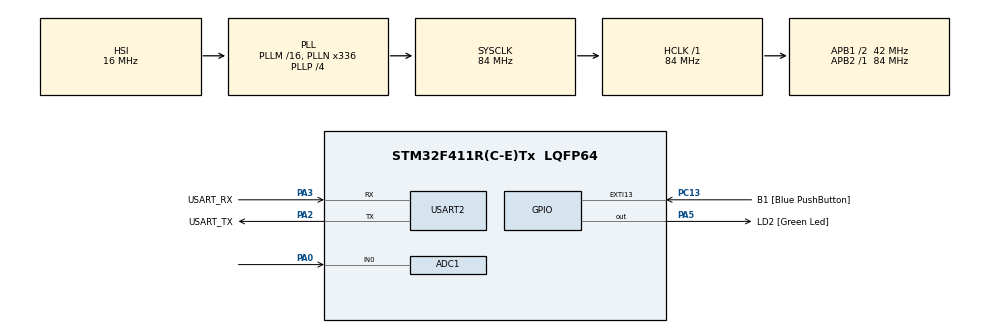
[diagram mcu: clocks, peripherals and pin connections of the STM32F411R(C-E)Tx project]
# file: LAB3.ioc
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ADC1.Channel-0\#ChannelRegularConversion=ADC_CHANNEL_0
ADC1.NbrOfConversionFlag=1
ADC1.Rank-0\#ChannelRegularConversion=1
ADC1.SamplingTime-0\#ChannelRegularConversion=ADC_SAMPLETIME_3CYCLES
ADC1.master=1
Mcu.Family=STM32F4
Mcu.Name=STM32F411R(C-E)Tx
Mcu.Package=LQFP64
NVIC.PriorityGroup=NVIC_PRIORITYGROUP_0
PA0-WKUP.Signal=ADCx_IN0
PA13.GPIO_Label=TMS
PA13.Mode=Serial_Wire
PA13.Signal=SYS_JTMS-SWDIO
PA14.GPIO_Label=TCK
PA14.Mode=Serial_Wire
PA14.Signal=SYS_JTCK-SWCLK
PA2.GPIO_Label=USART_TX
PA2.Mode=Asynchronous
PA2.Signal=USART2_TX
PA3.GPIO_Label=USART_RX
PA3.Mode=Asynchronous
PA3.Signal=USART2_RX
PA5.GPIO_Label=LD2 [Green Led]
PA5.Signal=GPIO_Output
PB3.GPIO_Label=SWO
PB3.Signal=SYS_JTDO-SWO
PC13-ANTI_TAMP.GPIO_Label=B1 [Blue PushButton]
PC13-ANTI_TAMP.GPIO_ModeDefaultEXTI=GPIO_MODE_IT_FALLING
PC13-ANTI_TAMP.Signal=GPXTI13
PC14-OSC32_IN.Mode=LSE-External-Oscillator
PC14-OSC32_IN.Signal=RCC_OSC32_IN
PC15-OSC32_OUT.Mode=LSE-External-Oscillator
PC15-OSC32_OUT.Signal=RCC_OSC32_OUT
PH0\ -\ OSC_IN.Mode=HSE-External-Clock-Source
PH0\ -\ OSC_IN.Signal=RCC_OSC_IN
PH1\ -\ OSC_OUT.Mode=HSE-External-Clock-Source
PH1\ -\ OSC_OUT.Signal=RCC_OSC_OUT
ProjectManager.HeapSize=0x200
ProjectManager.StackSize=0x400
ProjectManager.TargetToolchain=STM32CubeIDE
RCC.48MHZClocksFreq_Value=84000000
RCC.AHBFreq_Value=84000000
RCC.APB1CLKDivider=RCC_HCLK_DIV2
RCC.APB1Freq_Value=42000000
RCC.APB1TimFreq_Value=84000000
RCC.APB2Freq_Value=84000000
RCC.APB2TimFreq_Value=84000000
RCC.CortexFreq_Value=84000000
RCC.FLatency-AdvancedSettings=FLASH_LATENCY_2
RCC.HCLKFreq_Value=84000000
RCC.HSE_VALUE=8000000
RCC.HSI_VALUE=16000000
RCC.PLLN=336
RCC.PLLP=RCC_PLLP_DIV4
RCC.SYSCLKFreq_VALUE=84000000
RCC.SYSCLKSource=RCC_SYSCLKSOURCE_PLLCLK
RCC.VCOOutputFreq_Value=336000000
SH.ADCx_IN0.0=ADC1_IN0,IN0
USART2.VirtualMode=VM_ASYNC
VP_ADC1_TempSens_Input.Mode=IN-TempSens
board=NUCLEO-F411RE

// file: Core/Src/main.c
/* USER CODE BEGIN Header */
/**
  ******************************************************************************
  * @file           : main.c
  * @brief          : Main program body
  ******************************************************************************
  * @attention
  *
  * <h2><center>&copy; Copyright (c) 2021 STMicroelectronics.
  * All rights reserved.</center></h2>
  *
  * This software component is licensed by ST under BSD 3-Clause license,
  * the "License"; You may not use this file except in compliance with the
  * License. You may obtain a copy of the License at:
  *                        opensource.org/licenses/BSD-3-Clause
  *
  ******************************************************************************
  */
/* USER CODE END Header */
#include "main.h"

ADC_HandleTypeDef hadc1;

UART_HandleTypeDef huart2;

/* USER CODE BEGIN PV */
typedef struct
{
	ADC_ChannelConfTypeDef Config;
	uint32_t Data;
} ADCStructure;

ADCStructure ADCChannel[2] = {0};

/* USER CODE END PV */

void SystemClock_Config(void);
static void MX_GPIO_Init(void);
static void MX_USART2_UART_Init(void);
static void MX_ADC1_Init(void);
/* USER CODE BEGIN PFP */
void ADCPollingMethodInit();
void ADCPollingMethodUpdate(); //Read ADC from 2 sources(In0,Temp).
void ADCModeChangeUpdate();

int ADCMode = 0;
uint32_t ButtonTimeStamp = 0;
float ADCOutputConverted;
GPIO_PinState User_Button[2];
/* USER CODE END PFP */

int main(void)
{

  /* MCU Configuration--------------------------------------------------------*/

  /* Reset of all peripherals, Initializes the Flash interface and the Systick. */
  HAL_Init();

  /* Configure the system clock */
  SystemClock_Config();

  /* Initialize all configured peripherals */
  MX_GPIO_Init();
  MX_USART2_UART_Init();
  MX_ADC1_Init();
  /* USER CODE BEGIN 2 */
  ADCPollingMethodInit();
  /* USER CODE END 2 */

  /* Infinite loop */
  while (1)
  {

    /* USER CODE BEGIN 3 */
	  //read analog
	  ADCPollingMethodUpdate();
	  ADCModeChangeUpdate();
  }
  /* USER CODE END 3 */
}

void SystemClock_Config(void)
{
  RCC_OscInitTypeDef RCC_OscInitStruct = {0};
  RCC_ClkInitTypeDef RCC_ClkInitStruct = {0};

  /** Configure the main internal regulator output voltage
  */
  __HAL_RCC_PWR_CLK_ENABLE();
  __HAL_PWR_VOLTAGESCALING_CONFIG(PWR_REGULATOR_VOLTAGE_SCALE1);
  /** Initializes the RCC Oscillators according to the specified parameters
  * in the RCC_OscInitTypeDef structure.
  */
  RCC_OscInitStruct.OscillatorType = RCC_OSCILLATORTYPE_HSI;
  RCC_OscInitStruct.HSIState = RCC_HSI_ON;
  RCC_OscInitStruct.HSICalibrationValue = RCC_HSICALIBRATION_DEFAULT;
  RCC_OscInitStruct.PLL.PLLState = RCC_PLL_ON;
  RCC_OscInitStruct.PLL.PLLSource = RCC_PLLSOURCE_HSI;
  RCC_OscInitStruct.PLL.PLLM = 16;
  RCC_OscInitStruct.PLL.PLLN = 336;
  RCC_OscInitStruct.PLL.PLLP = RCC_PLLP_DIV4;
  RCC_OscInitStruct.PLL.PLLQ = 4;
  if (HAL_RCC_OscConfig(&RCC_OscInitStruct) != HAL_OK)
  {
    Error_Handler();
  }
  /** Initializes the CPU, AHB and APB buses clocks
  */
  RCC_ClkInitStruct.ClockType = RCC_CLOCKTYPE_HCLK|RCC_CLOCKTYPE_SYSCLK
                              |RCC_CLOCKTYPE_PCLK1|RCC_CLOCKTYPE_PCLK2;
  RCC_ClkInitStruct.SYSCLKSource = RCC_SYSCLKSOURCE_PLLCLK;
  RCC_ClkInitStruct.AHBCLKDivider = RCC_SYSCLK_DIV1;
  RCC_ClkInitStruct.APB1CLKDivider = RCC_HCLK_DIV2;
  RCC_ClkInitStruct.APB2CLKDivider = RCC_HCLK_DIV1;

  if (HAL_RCC_ClockConfig(&RCC_ClkInitStruct, FLASH_LATENCY_2) != HAL_OK)
  {
    Error_Handler();
  }
}

static void MX_ADC1_Init(void)
{

  ADC_ChannelConfTypeDef sConfig = {0};

  /** Configure the global features of the ADC (Clock, Resolution, Data Alignment and number of conversion)
  */
  hadc1.Instance = ADC1;
  hadc1.Init.ClockPrescaler = ADC_CLOCK_SYNC_PCLK_DIV4;
  hadc1.Init.Resolution = ADC_RESOLUTION_12B;
  hadc1.Init.ScanConvMode = DISABLE;
  hadc1.Init.ContinuousConvMode = DISABLE;
  hadc1.Init.DiscontinuousConvMode = DISABLE;
  hadc1.Init.ExternalTrigConvEdge = ADC_EXTERNALTRIGCONVEDGE_NONE;
  hadc1.Init.ExternalTrigConv = ADC_SOFTWARE_START;
  hadc1.Init.DataAlign = ADC_DATAALIGN_RIGHT;
  hadc1.Init.NbrOfConversion = 1;
  hadc1.Init.DMAContinuousRequests = DISABLE;
  hadc1.Init.EOCSelection = ADC_EOC_SINGLE_CONV;
  if (HAL_ADC_Init(&hadc1) != HAL_OK)
  {
    Error_Handler();
  }
  /** Configure for the selected ADC regular channel its corresponding rank in the sequencer and its sample time.
  */
  sConfig.Channel = ADC_CHANNEL_0;
  sConfig.Rank = 1;
  sConfig.SamplingTime = ADC_SAMPLETIME_3CYCLES;
  if (HAL_ADC_ConfigChannel(&hadc1, &sConfig) != HAL_OK)
  {
    Error_Handler();
  }

}

static void MX_USART2_UART_Init(void)
{

  huart2.Instance = USART2;
  huart2.Init.BaudRate = 115200;
  huart2.Init.WordLength = UART_WORDLENGTH_8B;
  huart2.Init.StopBits = UART_STOPBITS_1;
  huart2.Init.Parity = UART_PARITY_NONE;
  huart2.Init.Mode = UART_MODE_TX_RX;
  huart2.Init.HwFlowCtl = UART_HWCONTROL_NONE;
  huart2.Init.OverSampling = UART_OVERSAMPLING_16;
  if (HAL_UART_Init(&huart2) != HAL_OK)
  {
    Error_Handler();
  }

}

static void MX_GPIO_Init(void)
{
  GPIO_InitTypeDef GPIO_InitStruct = {0};

  /* GPIO Ports Clock Enable */
  __HAL_RCC_GPIOC_CLK_ENABLE();
  __HAL_RCC_GPIOH_CLK_ENABLE();
  __HAL_RCC_GPIOA_CLK_ENABLE();
  __HAL_RCC_GPIOB_CLK_ENABLE();

  /*Configure GPIO pin Output Level */
  HAL_GPIO_WritePin(LD2_GPIO_Port, LD2_Pin, GPIO_PIN_RESET);

  /*Configure GPIO pin : B1_Pin */
  GPIO_InitStruct.Pin = B1_Pin;
  GPIO_InitStruct.Mode = GPIO_MODE_IT_FALLING;
  GPIO_InitStruct.Pull = GPIO_NOPULL;
  HAL_GPIO_Init(B1_GPIO_Port, &GPIO_InitStruct);

  /*Configure GPIO pin : LD2_Pin */
  GPIO_InitStruct.Pin = LD2_Pin;
  GPIO_InitStruct.Mode = GPIO_MODE_OUTPUT_PP;
  GPIO_InitStruct.Pull = GPIO_NOPULL;
  GPIO_InitStruct.Speed = GPIO_SPEED_FREQ_LOW;
  HAL_GPIO_Init(LD2_GPIO_Port, &GPIO_InitStruct);

}

/* USER CODE BEGIN 4 */

void ADCPollingMethodInit()
{
	//setting PA0 and Temp
	//PA0 - ADC IN0
	ADCChannel[0].Config.Channel = ADC_CHANNEL_0;
	ADCChannel[0].Config.Rank = 1;
	ADCChannel[0].Config.SamplingTime = ADC_SAMPLETIME_3CYCLES;

	//Temp
	ADCChannel[1].Config.Channel = ADC_CHANNEL_TEMPSENSOR;
	ADCChannel[1].Config.Rank = 1;
	ADCChannel[1].Config.SamplingTime = ADC_SAMPLETIME_3CYCLES;
}

void ADCPollingMethodUpdate()
{
	for(int i = 0;i<2;i++)
	{
		//select channel
		HAL_ADC_ConfigChannel(&hadc1, &ADCChannel[i].Config);
		//ADC Sampling ,Convert
		HAL_ADC_Start(&hadc1);
		//Wait ADC
		if(HAL_ADC_PollForConversion(&hadc1, 10) == HAL_OK)
		{
			//Get Value
			ADCChannel[i].Data = HAL_ADC_GetValue(&hadc1);
		}
		//Stop
		HAL_ADC_Stop(&hadc1);
	}

}

void ADCModeChangeUpdate()
{
	if(HAL_GetTick() - ButtonTimeStamp >= 100)
	{
		ButtonTimeStamp = HAL_GetTick();
		User_Button[0] = HAL_GPIO_ReadPin(GPIOC, GPIO_PIN_13);
		if(User_Button[1] == GPIO_PIN_SET && User_Button[0] == GPIO_PIN_RESET)
		{
			if(ADCMode == 0)
			{
				ADCMode = 1;
			}
			else
			{
				ADCMode = 0;
			}
		}
		User_Button[1] = User_Button[0];
	}
	if(ADCMode == 0)
	{
		ADCOutputConverted = (3300.0*ADCChannel[0].Data)/4096.0;//when V = 3.3 Data = 4096 so to convert data into mV the formula will be 3300*data/4096
	}
	else
	{
		//temperature (in c) = ((Vsense - V25)/Avg_Slope)+25
		//V25 typical 0.76V
		//Avg_Slope typical 2.5 mV/C
		float Vsense = ((3300.0*ADCChannel[1].Data)/4096.0);
		ADCOutputConverted = ((Vsense - 760.0)/2.5)+25;
	}
}
/* USER CODE END 4 */

void Error_Handler(void)
{
  __disable_irq();
  while (1)
  {
  }
}

/************************ (C) COPYRIGHT STMicroelectronics *****END OF FILE****/
